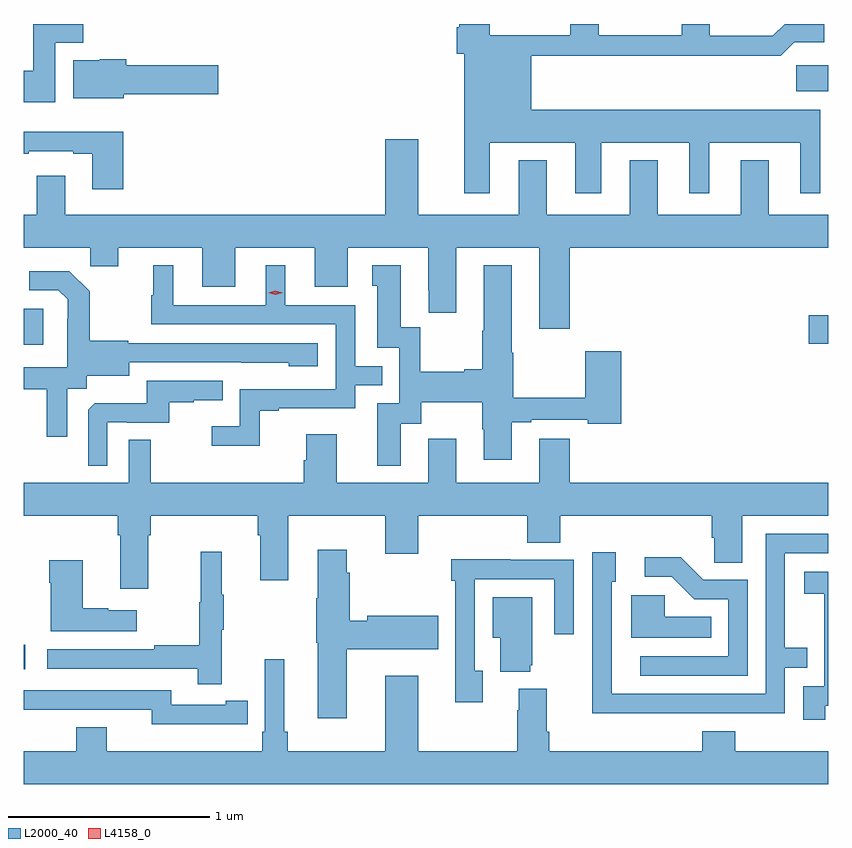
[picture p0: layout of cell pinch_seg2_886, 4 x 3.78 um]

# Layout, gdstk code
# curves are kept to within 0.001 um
import gdstk
lib = gdstk.Library(unit=1e-6, precision=1e-09)
def R(c, l, rs):  # rectangles x0, y0, x1, y1
    for r in rs: c.add(gdstk.rectangle(r[:2], r[2:], *l))
def P(c, l, *ps):  # polygons
    for p in ps: c.add(gdstk.Polygon(p, *l))
L2000_40 = (2000, 40)
L4158_0 = (4158, 0)

pinch_seg2_886 = lib.new_cell('pinch_seg2_886')
R(pinch_seg2_886, L2000_40, [(450.923,658.863,450.931,658.983), (450.923,660.474,451.021,660.654), (454.824,660.479,454.923,660.621), (454.764,661.736,454.923,661.865)])
P(pinch_seg2_886, L2000_40, [(451.081,661.976),(451.22,661.976),(451.22,662.069),(450.971,662.069),(450.971,661.836),(450.923,661.836),(450.923,661.68),(451.081,661.68)],
  [(453.241,661.478),(453.665,661.478),(453.665,661.227),(453.793,661.227),(453.793,661.478),(454.232,661.478),(454.232,661.227),(454.33,661.227),(454.33,661.478),(454.784,661.478),(454.784,661.227),(454.882,661.227),(454.882,661.642),(453.445,661.642),(453.445,661.912),(454.429,661.912),(454.429,661.91),(454.685,661.91),(454.754,661.979),(454.903,661.979),(454.903,662.069),(454.706,662.069),(454.647,662.01),(454.333,662.01),(454.333,662.069),(454.193,662.069),(454.193,662.013),(453.781,662.013),(453.781,662.069),(453.641,662.069),(453.641,662.013),(453.241,662.013),(453.241,662.069),(453.089,662.069),(453.089,662.054),(453.077,662.054),(453.077,661.92),(453.113,661.92),(453.113,661.227),(453.241,661.227)],
  [(451.42,661.721),(451.891,661.721),(451.891,661.863),(451.433,661.863),(451.433,661.894),(451.302,661.894),(451.302,661.888),(451.169,661.888),(451.169,661.7),(451.42,661.7)],
  [(451.418,661.534),(450.923,661.534),(450.923,661.425),(450.949,661.425),(450.949,661.437),(451.169,661.437),(451.169,661.425),(451.265,661.425),(451.265,661.248),(451.418,661.248)],
  [(454.487,661.393),(454.487,661.12),(454.075,661.12),(454.075,661.393),(453.935,661.393),(453.935,661.12),(453.523,661.12),(453.523,661.393),(453.383,661.393),(453.383,661.12),(452.884,661.12),(452.884,661.495),(452.72,661.495),(452.72,661.12),(451.129,661.12),(451.129,661.315),(450.989,661.315),(450.989,661.12),(450.923,661.12),(450.923,660.956),(451.255,660.956),(451.255,660.866),(451.393,660.866),(451.393,660.956),(451.811,660.956),(451.811,660.762),(451.975,660.762),(451.975,660.956),(452.369,660.956),(452.369,660.762),(452.533,660.762),(452.533,660.956),(452.933,660.956),(452.933,660.745),(452.936,660.745),(452.936,660.633),(453.073,660.633),(453.073,660.956),(453.485,660.956),(453.485,660.555),(453.638,660.555),(453.638,660.956),(454.923,660.956),(454.923,661.12),(454.627,661.12),(454.627,661.393)],
  [(452.097,660.147),(452.191,660.147),(452.191,660.159),(452.571,660.159),(452.571,660.273),(452.705,660.273),(452.705,660.369),(452.571,660.369),(452.571,660.672),(452.224,660.672),(452.224,660.871),(452.126,660.871),(452.126,660.672),(451.666,660.672),(451.666,660.871),(451.568,660.871),(451.568,660.72),(451.557,660.72),(451.557,660.576),(452.475,660.576),(452.475,660.255),(451.998,660.255),(451.998,660.07),(451.857,660.07),(451.857,659.972),(452.097,659.972)],
  [(452.797,660.082),(452.899,660.082),(452.899,660.188),(453.202,660.188),(453.202,660.054),(453.209,660.054),(453.209,659.904),(453.349,659.904),(453.349,660.09),(453.445,660.09),(453.445,660.102),(453.726,660.102),(453.726,660.082),(453.893,660.082),(453.893,660.442),(453.715,660.442),(453.715,660.211),(453.357,660.211),(453.357,660.436),(453.349,660.436),(453.349,660.871),(453.209,660.871),(453.209,660.545),(453.202,660.545),(453.202,660.353),(453.113,660.353),(453.113,660.34),(452.895,660.34),(452.895,660.563),(452.797,660.563),(452.797,660.871),(452.657,660.871),(452.657,660.768),(452.681,660.768),(452.681,660.459),(452.79,660.459),(452.79,660.183),(452.681,660.183),(452.681,659.874),(452.797,659.874)],
  [(451.141,660.256),(451.236,660.256),(451.236,660.32),(451.447,660.32),(451.447,660.387),(452.241,660.386),(452.241,660.368),(452.386,660.368),(452.386,660.483),(451.443,660.483),(451.443,660.496),(451.251,660.496),(451.251,660.741),(451.151,660.841),(450.951,660.841),(450.951,660.747),(451.095,660.747),(451.142,660.7),(451.142,660.605),(451.14,660.605),(451.14,660.364),(450.923,660.364),(450.923,660.254),(451.037,660.254),(451.037,660.018),(451.141,660.018)],
  [(451.338,660.09),(451.438,660.09),(451.438,660.087),(451.646,660.087),(451.646,660.189),(451.769,660.189),(451.769,660.2),(451.913,660.2),(451.913,660.297),(451.536,660.297),(451.536,660.185),(451.277,660.185),(451.245,660.153),(451.245,659.873),(451.338,659.873)],
  [(451.543,659.528),(451.556,659.528),(451.556,659.624),(452.087,659.624),(452.087,659.528),(452.099,659.528),(452.099,659.304),(452.239,659.304),(452.239,659.624),(452.72,659.624),(452.72,659.436),(452.884,659.436),(452.884,659.624),(453.425,659.624),(453.425,659.491),(453.59,659.491),(453.59,659.624),(454.343,659.624),(454.343,659.515),(454.356,659.515),(454.356,659.392),(454.495,659.392),(454.495,659.624),(454.923,659.624),(454.923,659.788),(453.638,659.788),(453.638,660.007),(453.485,660.007),(453.485,659.788),(453.073,659.788),(453.073,660.007),(452.933,660.007),(452.933,659.788),(452.479,659.788),(452.479,660.031),(452.327,660.031),(452.327,659.901),(452.315,659.901),(452.315,659.788),(451.555,659.788),(451.555,660.002),(451.446,660.002),(451.446,659.788),(450.923,659.788),(450.923,659.624),(451.391,659.624),(451.391,659.528),(451.403,659.528),(451.403,659.262),(451.543,659.262)],
  [(454.211,658.644),(454.707,658.644),(454.707,658.869),(454.817,658.869),(454.817,658.97),(454.707,658.97),(454.707,659.439),(454.923,659.439),(454.923,659.535),(454.611,659.535),(454.611,658.74),(453.847,658.74),(453.847,658.97),(453.846,658.97),(453.846,659.298),(453.865,659.298),(453.865,659.443),(453.75,659.443),(453.75,658.949),(453.748,658.949),(453.748,658.643),(454.211,658.643)],
  [(452.53,658.961),(452.983,658.961),(452.983,659.127),(452.63,659.127),(452.63,659.104),(452.543,659.104),(452.543,659.342),(452.53,659.342),(452.53,659.455),(452.384,659.455),(452.384,659.216),(452.377,659.216),(452.377,658.995),(452.384,658.995),(452.384,658.62),(452.53,658.62)],
  [(451.907,659.059),(451.918,659.059),(451.918,659.233),(451.907,659.233),(451.907,659.446),(451.804,659.446),(451.804,659.196),(451.797,659.196),(451.797,658.982),(451.573,658.982),(451.573,658.962),(451.041,658.962),(451.041,658.866),(451.789,658.866),(451.789,658.788),(451.907,658.788)],
  [(454.521,659.307),(454.302,659.307),(454.189,659.42),(454.011,659.42),(454.011,659.322),(454.145,659.322),(454.256,659.211),(454.425,659.211),(454.425,658.926),(453.987,658.926),(453.987,658.83),(454.521,658.83)],
  [(453.205,658.854),(453.165,658.854),(453.165,659.31),(453.561,659.31),(453.561,659.037),(453.657,659.037),(453.657,659.406),(453.341,659.406),(453.341,659.408),(453.049,659.408),(453.049,659.303),(453.069,659.303),(453.069,658.698),(453.205,658.698)],
  [(451.486,659.155),(451.343,659.155),(451.343,659.165),(451.216,659.165),(451.216,659.404),(451.051,659.404),(451.051,659.291),(451.058,659.291),(451.058,659.051),(451.486,659.051)],
  [(454.906,658.681),(454.923,658.681),(454.923,659.347),(454.803,659.347),(454.803,659.237),(454.901,659.237),(454.901,659.009),(454.902,659.009),(454.902,658.779),(454.797,658.779),(454.797,658.611),(454.906,658.611)],
  [(454.34,659.122),(454.11,659.122),(454.11,659.23),(453.944,659.23),(453.944,659.018),(454.34,659.018)],
  [(453.44,658.881),(453.451,658.881),(453.451,659.221),(453.254,659.221),(453.254,659.018),(453.293,659.018),(453.293,658.85),(453.44,658.85)],
  [(454.923,658.456),(454.46,658.456),(454.46,658.555),(454.295,658.555),(454.295,658.456),(453.536,658.456),(453.536,658.552),(453.523,658.552),(453.523,658.765),(453.383,658.765),(453.383,658.658),(453.376,658.658),(453.376,658.456),(452.884,658.456),(452.884,658.831),(452.72,658.831),(452.72,658.456),(452.237,658.456),(452.237,658.552),(452.218,658.552),(452.218,658.912),(452.121,658.912),(452.121,658.552),(452.108,658.552),(452.108,658.456),(451.336,658.456),(451.336,658.573),(451.184,658.573),(451.184,658.456),(450.923,658.456),(450.923,658.292),(454.923,658.292)],
  [(451.928,658.59),(452.036,658.59),(452.036,658.706),(451.928,658.706),(451.928,658.686),(451.656,658.686),(451.656,658.758),(450.923,658.758),(450.923,658.661),(451.1,658.661),(451.1,658.662),(451.56,658.662),(451.56,658.589),(451.928,658.589)])
P(pinch_seg2_886, L4158_0, [(452.175,660.724),(452.14,660.734),(452.139,660.734),(452.14,660.734),(452.175,660.744),(452.21,660.734),(452.211,660.734),(452.21,660.733)])

lib.write_gds('pinch_seg2_886.gds')
